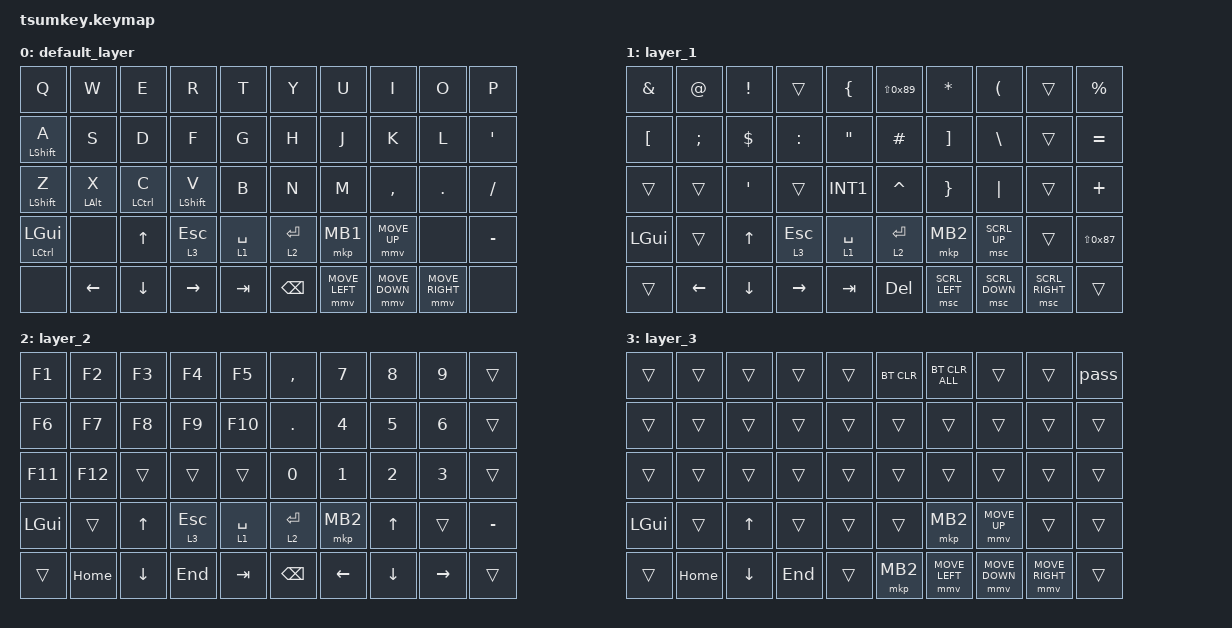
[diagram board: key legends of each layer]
#include <input/processors.dtsi>
#include <dt-bindings/zmk/input_transform.h>
#include <zephyr/dt-bindings/input/input-event-codes.h>
#include <behaviors.dtsi>
#include <dt-bindings/zmk/bt.h>
#include <dt-bindings/zmk/keys.h>
#include <dt-bindings/zmk/pointing.h>

// 既定の最大移動速度（デフォルト600）を上げたい場合は #include <dt-bindings/zmk/pointing.h> 前で上書き
#define ZMK_POINTING_DEFAULT_MOVE_VAL 2200
#define ZMK_POINTING_DEFAULT_SCRL_VAL 30
#define MOUSE 3

// ==== カーソル加速 ====
&mmv {
    time-to-max-speed-ms = <800>;  // 最大速度に達するまでの時間（デフォルトは300）
    acceleration-exponent = <1>;     // 0:等速, 1:等加速度, 2:線形加速
};

// OS設定を日本語キーボードのまま使用するための変換定義
#define JP_DQUOTE       AT                // "
#define JP_AMPERSAND    CARET             // &
#define JP_QUOTE        AMPERSAND         // '
#define JP_EQUAL        UNDER             // =
#define JP_CARET        EQUAL             // ^
#define JP_YEN          0x89              // ¥
#define JP_PLUS         COLON             // +
#define JP_TILDE        PLUS              // ~
#define JP_PIPE         LS(0x89)          // |
#define JP_AT           LEFT_BRACKET      // @
#define JP_COLON        SINGLE_QUOTE      // :
#define JP_ASTERISK     DOUBLE_QUOTES     // *
#define JP_BACKQUOTE    LEFT_BRACE        // `
#define JP_UNDERSCORE   LS(0x87)          // _
#define JP_LBRACKET     RIGHT_BRACKET     // [
#define JP_RBRACKET     BACKSLASH         // ]
#define JP_LPAREN       ASTERISK          // (
#define JP_RPAREN       LEFT_PARENTHESIS  // )
#define JP_LBRACE       RIGHT_BRACE       // {
#define JP_RBRACE       PIPE              // }
#define JP_KANA         LANGUAGE_1        // かな
#define JP_EISU         LANGUAGE_2        // 英数
#define JP_HANZEN       GRAVE             // 半角/全角
#define JP_BSLH         INT1              // (backslash)

&mt {
    flavor = "balanced";
    quick-tap-ms = <0>;
};

/ {
    combos {
        compatible = "zmk,combos";

        mouse_button1 {
            bindings = <&mkp MB1>;
            key-positions = <16 17>;
        };

        mouse_button2 {
            bindings = <&mkp MB2>;
            key-positions = <17 18>;
        };

        home {
            bindings = <&kp HOME>;
            key-positions = <23 24>;
        };

        end {
            bindings = <&kp END>;
            key-positions = <25 26>;
        };

        muhenkan {
            bindings = <&kp INT_MUHENKAN>;
            key-positions = <13 14>;
        };

        henkan {
            bindings = <&kp INT_HENKAN>;
            key-positions = <15 16>;
        };
    };

    macros {
        pass: pass {
            compatible = "zmk,behavior-macro";
            #binding-cells = <0>;
            bindings = <&kp J &kp U &kp N &kp I &kp C &kp H &kp I &kp NUMBER_0 &kp NUMBER_2 &kp NUMBER_2 &kp NUMBER_4 &kp EXCLAMATION>;
        };
    };

    keymap {
        compatible = "zmk,keymap";

        default_layer {
            bindings = <
&kp Q               &kp W           &kp E           &kp R            &kp T          &kp Y          &kp U           &kp I           &kp O            &kp P
&mt LSHIFT A        &kp S           &kp D           &kp F            &kp G          &kp H          &kp J           &kp K           &kp L            &kp JP_COLON
&mt LSHIFT Z        &mt LALT X      &mt LCTRL C     &mt LSHIFT V     &kp B          &kp N          &kp M           &kp COMMA       &kp DOT          &kp SLASH
&mt LCTRL LEFT_GUI  &none           &kp UP_ARROW    &lt 3 ESC        &lt 1 SPACE    &lt 2 ENTER    &mkp MB1        &mmv MOVE_UP    &none            &kp MINUS
&none               &kp LEFT_ARROW  &kp DOWN_ARROW  &kp RIGHT_ARROW  &kp TAB        &kp BACKSPACE  &mmv MOVE_LEFT  &mmv MOVE_DOWN  &mmv MOVE_RIGHT  &none
            >;
        };

        layer_1 {
            bindings = <
&kp JP_QUOTE  &kp JP_DQUOTE   &kp EXCLAMATION  &trans            &kp JP_BACKQUOTE    &kp JP_PIPE       &kp JP_LPAREN    &kp JP_RPAREN    &trans           &kp PERCENT
&kp JP_AT     &kp SEMICOLON   &kp DOLLAR       &kp JP_PLUS       &kp JP_ASTERISK     &kp HASH          &kp JP_LBRACKET  &kp JP_RBRACKET  &trans           &kp JP_CARET
&trans        &trans          &kp JP_COLON     &trans            &kp JP_BSLH         &kp JP_AMPERSAND  &kp JP_LBRACE    &kp JP_RBRACE    &trans           &kp JP_TILDE
&kp LEFT_GUI  &trans          &kp UP_ARROW     &lt 3 ESC         &lt 1 SPACE         &lt 2 ENTER       &mkp MB2         &msc SCRL_UP     &trans           &kp JP_UNDERSCORE
&trans        &kp LEFT_ARROW  &kp DOWN_ARROW   &kp RIGHT_ARROW   &kp TAB             &kp DELETE        &msc SCRL_LEFT   &msc SCRL_DOWN   &msc SCRL_RIGHT  &trans
            >;
        };

        layer_2 {
            bindings = <
&kp F1        &kp F2    &kp F3          &kp F4     &kp F5         &kp COMMA      &kp NUMBER_7    &kp NUMBER_8    &kp NUMBER_9     &trans
&kp F6        &kp F7    &kp F8          &kp F9     &kp F10        &kp DOT        &kp NUMBER_4    &kp NUMBER_5    &kp NUMBER_6     &trans
&kp F11       &kp F12   &trans          &trans     &trans         &kp NUMBER_0   &kp NUMBER_1    &kp NUMBER_2    &kp NUMBER_3     &trans
&kp LEFT_GUI  &trans    &kp UP_ARROW    &lt 3 ESC  &lt 1 SPACE    &lt 2 ENTER    &mkp MB2        &kp UP_ARROW    &trans           &kp MINUS
&trans        &kp HOME  &kp DOWN_ARROW  &kp END    &kp TAB        &kp BACKSPACE  &kp LEFT_ARROW  &kp DOWN_ARROW  &kp RIGHT_ARROW  &trans
            >;
        };

        layer_3 {
            bindings = <
&trans        &trans    &trans          &trans   &trans    &bt BT_CLR  &bt BT_CLR_ALL  &trans          &trans           &pass
&trans        &trans    &trans          &trans   &trans    &trans      &trans          &trans          &trans           &trans
&trans        &trans    &trans          &trans   &trans    &trans      &trans          &trans          &trans           &trans
&kp LEFT_GUI  &trans    &kp UP_ARROW    &trans   &trans    &trans      &mkp MB2        &mmv MOVE_UP    &trans           &trans
&trans        &kp HOME  &kp DOWN_ARROW  &kp END  &trans    &mkp MB2    &mmv MOVE_LEFT  &mmv MOVE_DOWN  &mmv MOVE_RIGHT  &trans
            >;
        };
    };
};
